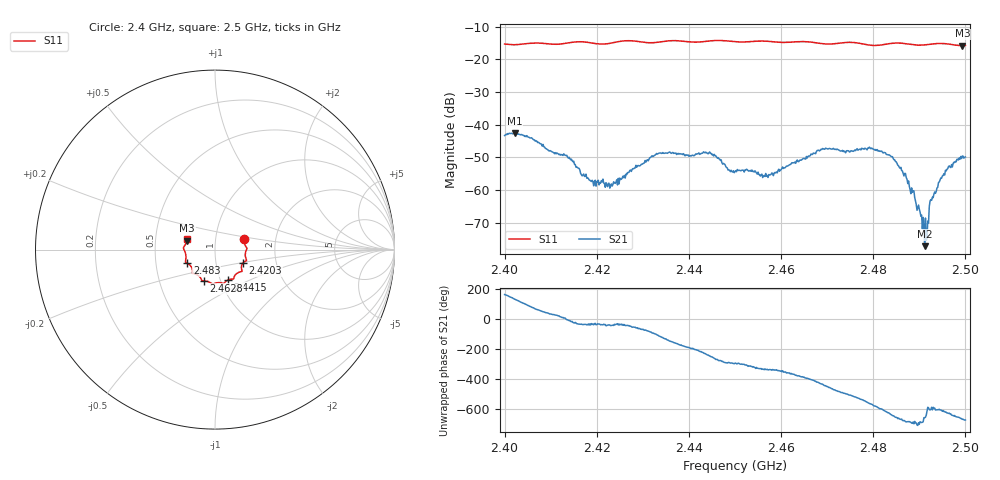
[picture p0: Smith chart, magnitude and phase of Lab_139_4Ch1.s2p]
# Hz S RI R 50
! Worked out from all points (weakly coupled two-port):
!   601 points, 2.4 GHz to 2.5 GHz, reference 50 ohm
!   highest |S21| = -42.53 dB at 2.4022 GHz (marker M1); lowest = -77.1 dB at 2.4912 GHz (marker M2)
!   lowest |S11| = -15.8 dB at 2.4993 GHz (marker M3), VSWR 1.39, Z = 36.4 + j3.68 ohm
!   |S11| at or under -10 dB: start of sweep to end of sweep
!   S12 and S22 are empty: the file has one direction only
!   S11 on the Smith chart (normalised r, x): 2.4 GHz: 1.38, +0.16; 2.4203 GHz: 1.35, -0.21; 2.4415 GHz: 1.09, -0.38; 2.4628 GHz: 0.83, -0.30; 2.483 GHz: 0.73, -0.11; 2.5 GHz: 0.73, +0.09
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2.4e9  0.162 0.0567  -0.00665 0.00166  0 0  0 0
2.402167e9  0.1645 0.0338  -0.00527 0.0053  0 0  0 0
2.413333e9  0.1709 -0.0451  0.0034 1.69e-05  0 0  0 0
2.416667e9  0.1756 -0.062  0.00145 -0.000939  0 0  0 0
2.420333e9  0.1559 -0.0745  0.0012 -0.000753  0 0  0 0
2.423333e9  0.1471 -0.1019  0.000855 -0.000774  0 0  0 0
2.433333e9  0.1083 -0.1482  -0.00116 -0.00344  0 0  0 0
2.4415e9  0.0732 -0.1687  -0.00327 0.00149  0 0  0 0
2.445e9  0.052 -0.186  -0.00102 0.00333  0 0  0 0
2.45e9  0.0297 -0.1845  0.000825 0.00173  0 0  0 0
2.457333e9  -0.0194 -0.1878  0.00163 0.000602  0 0  0 0
2.462833e9  -0.0624 -0.1744  0.00257 -0.000475  0 0  0 0
2.466667e9  -0.0751 -0.1675  0.0024 -0.00257  0 0  0 0
2.483e9  -0.1543 -0.0765  -0.000348 0.00349  0 0  0 0
2.483333e9  -0.1564 -0.0754  -8.82e-05 0.00346  0 0  0 0
2.487333e9  -0.1631 -0.0584  0.00126 0.000758  0 0  0 0
2.491167e9  -0.166 -0.0158  7.23e-05 0.000119  0 0  0 0
2.491667e9  -0.168 -0.0106  -3.74e-05 0.000183  0 0  0 0
2.492667e9  -0.1719 -0.00163  -0.000431 0.000549  0 0  0 0
2.494667e9  -0.1755 0.0105  -0.000512 0.00145  0 0  0 0
2.499333e9  -0.1551 0.0492  0.00227 0.00243  0 0  0 0
2.5e9  -0.1532 0.058  0.00237 0.00218  0 0  0 0
